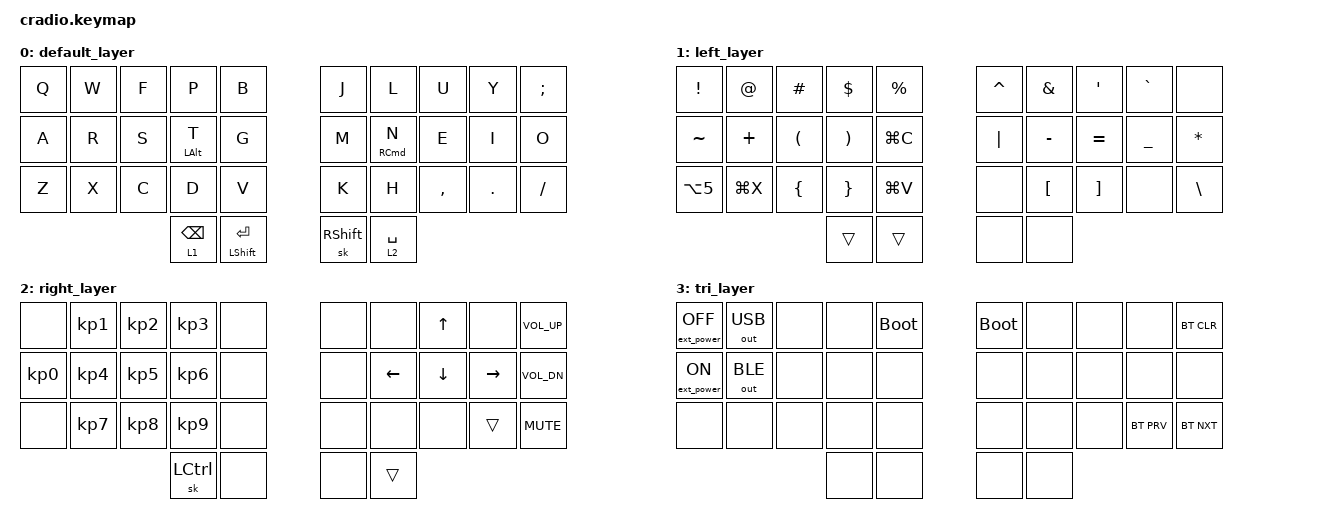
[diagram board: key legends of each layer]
/*
 * Copyright (c) 2020 The ZMK Contributors
 *
 * SPDX-License-Identifier: MIT
 */

#include <behaviors.dtsi>
#include <dt-bindings/zmk/keys.h>
#include <dt-bindings/zmk/bt.h>
#include <dt-bindings/zmk/ext_power.h>
#include <dt-bindings/zmk/outputs.h>

&mt {
  // flavor = "tap-preferred";
  // tapping_term_ms = <200>;
};

&sl {
  release-after-ms = <2000>;
};

/ {
  behaviors {
    hm: homerow_mods {
      compatible = "zmk,behavior-hold-tap";
      label = "HOMEROW_MODS";
      #binding-cells = <2>;
      tapping-term-ms = <200>;
      quick_tap_ms = <0>;
      flavor = "tap-preferred";
      bindings = <&kp>, <&kp>;
    };
    td: tapdance {
      compatible = "zmk,behavior-hold-tap";
      label = "TAPDANCE";
      #binding-cells = <2>;
      tapping-term-ms = <150>;
      quick_tap_ms = <0>;
      flavor = "tap-preferred";
      bindings = <&kp>, <&kp>;
    };
  };

  combos {
    compatible = "zmk,combos";
    combo_esc {
      timeout-ms = <50>;
      key-positions = <0 1>;
      bindings = <&kp ESC>;
    };

    combo_tab {
      timeout-ms = <50>;
      key-positions = <10 11>;
      bindings = <&kp TAB>;
    };

    // Momentary layer 3
    combo_l_layer_3 {
      timeout-ms = <50>;
      key-positions = <30 31>;
      bindings = <&mo 3>;
    };

    // Momentary layer 3
    combo_r_layer_3 {
      timeout-ms = <50>;
      key-positions = <32 33>;
      bindings = <&mo 3>;
    };
  };

  keymap {
    compatible = "zmk,keymap";

    default_layer {
      // ___________________________________________________           ___________________________________________________
      // |    Q    |    W    |    F    |    P    |    B    |           |    J    |    L    |    U    |    Y    |    ;    |
      // |    A    |    R    |    S    | LAlt(T) |    G    |           |    M    | RCmd(N) |    E    |    I    |    O    |
      // |    Z    |    X    |    C    |    D    |    V    |           |    K    |    H    |    ,    |    .    |    /    |
      // ------------------------------| LAYER 1 |  ENTER  |           | St RShft| LAYER 2 |------------------------------
      bindings = <
        &kp Q      &kp W      &kp F       &kp P       &kp B             &kp J      &kp L      &kp U      &kp Y      &kp SEMICOLON
        &kp A      &kp R      &kp S       &hm LALT T  &kp G             &kp M      &hm RCMD N &kp E      &kp I      &kp O
        &kp Z      &kp X      &kp C       &kp D       &kp V             &kp K      &kp H      &kp COMMA  &kp DOT    &kp SLASH
                                          &lt 1 BSPC  &mt LSHFT ENTER   &sk RSHFT  &lt 2 SPACE
      >;
    };

    left_layer {
      // ___________________________________________________           ___________________________________________________
      // |    !    |    @    |    #    |    $    |    %    |           |    ^    |    &    |    '    |    `    |         |
      // |    ~    |    +    |    (    |    )    |  COPY   |           |    |    |    -    |    =    |    _    |    *    |
      // |    €    | EXTRACT |    {    |    }    |  PASTE  |           |         |    [    |    ]    |         |    \    |
      // ------------------------------|  TRANS  |  TRANS  |           |         |         |------------------------------
      bindings = <
        &kp EXCL   &kp AT     &kp HASH    &kp DOLLAR  &kp PERCENT       &kp CARET  &kp AMPS   &kp APOS   &kp GRAVE  &none
        &kp TILDE  &kp PLUS   &kp LPAR    &kp RPAR    &kp LG(C)         &kp PIPE   &kp MINUS  &kp EQUAL  &kp UNDER  &kp STAR
        &kp LA(N5) &kp LG(X)  &kp LBRC    &kp RBRC    &kp LG(V)         &none      &kp LBKT   &kp RBKT   &none      &kp BSLH
                                          &trans      &trans            &none      &none
      >;
    };

    right_layer {
      // ___________________________________________________           ___________________________________________________
      // |         |    1    |    2    |    3    |         |           |         |         |   UP    |         |  VOL +  |
      // |    0    |    4    |    5    |    6    |         |           |         |  LEFT   |  DOWN   |  RIGHT  |  VOL -  |
      // |         |    7    |    8    |    9    |         |           |         |         |         |  TRANS  |  MUTE   |
      // ------------------------------| St LCtrl|         |           |         |  TRANS  |------------------------------
      bindings = <
        &none      &kp KP_N1  &kp KP_N2   &kp KP_N3   &none             &none      &none      &kp UP     &none      &kp C_VOL_UP
        &kp KP_N0  &kp KP_N4  &kp KP_N5   &kp KP_N6   &none             &none      &kp LEFT   &kp DOWN   &kp RIGHT  &kp C_VOL_DN
        &none      &kp KP_N7  &kp KP_N8   &kp KP_N9   &none             &none      &none      &none      &trans     &kp C_MUTE
                                          &sk LCTRL   &none             &none      &trans
      >;
    };

    tri_layer {
      // ___________________________________________________           ___________________________________________________
      // | EP_OFF  | OUT_USB |         |         |  RESET  |           |  RESET  |         |         |         | BT CLEAR|
      // | EP_ON   | OUT_BLE |         |         |         |           |         |         |         |         |         |
      // |         |         |         |         |         |           |         |         |         | BT PREV | BT NEXT |
      // ------------------------------|         |         |           |         |         |------------------------------
      bindings = <
        &ext_power EP_OFF &out OUT_USB &none &none    &bootloader       &bootloader &none     &none      &none      &bt BT_CLR
        &ext_power EP_ON  &out OUT_BLE &none &none    &none             &none      &none      &none      &none      &none
        &none      &none      &none       &none       &none             &none      &none      &none      &bt BT_PRV &bt BT_NXT
                                          &none       &none             &none      &none
      >;
    };
  };
};
